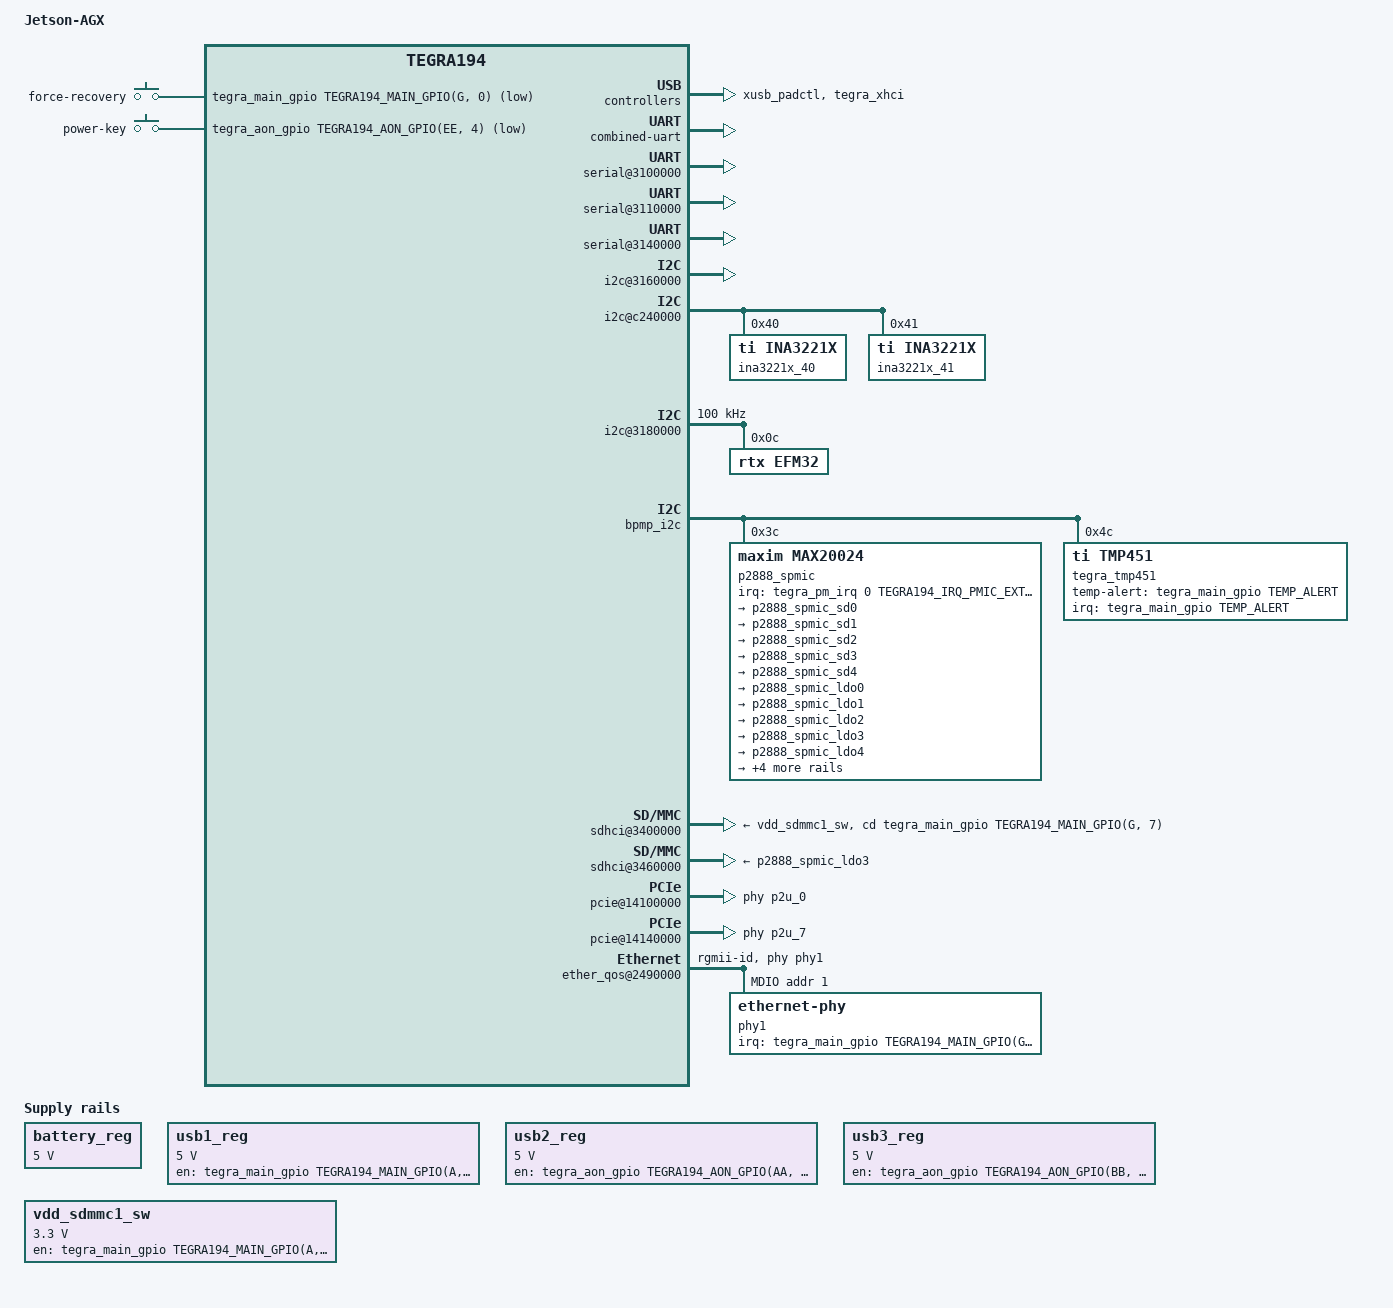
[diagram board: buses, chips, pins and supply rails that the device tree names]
/*
 * Common include DTS file for CVM:P2888-0001 and CVB:P2822-0000 variants.
 *
 * Copyright (c) 2018-2020, NVIDIA CORPORATION.  All rights reserved.
 *
 * This program is free software; you can redistribute it and/or modify
 * it under the terms of the GNU General Public License as published by
 * the Free Software Foundation; version 2 of the License.
 *
 * This program is distributed in the hope that it will be useful, but WITHOUT
 * ANY WARRANTY; without even the implied warranty of MERCHANTABILITY or
 * FITNESS FOR A PARTICULAR PURPOSE.  See the GNU General Public License for
 * more details.
 */

#define TEMP_ALERT TEGRA194_MAIN_GPIO(H, 2)

#include <dt-bindings/types.h>
#include "dt-bindings/extcon-ids.h"
#include <dt-bindings/regulator/regulator.h>
#include "dt-bindings/gpio/tegra194-gpio.h"
#include <dt-bindings/clock/tegra194-clock.h>
#include <dt-bindings/pwm/pwm.h>
#include <dt-bindings/interrupt-controller/arm-gic.h>
#include <dt-bindings/interrupt-controller/irq.h>
#include <dt-bindings/thermal/thermal.h>
#include <dt-bindings/thermal/nvidia,tegra-thermal-throttle.h>
#include "dt-bindings/input/input.h"
#include <dt-bindings/display/tegra-dc.h>
#include <dt-bindings/display/tegra-panel.h>
#include <dt-bindings/mfd/max77620.h>
#include <dt-bindings/sound/rt5659.h>

/dts-v1/;

/memreserve/ 0x80000000 0x00010000;

#include <tegra194-soc/tegra194-soc-base.dtsi>
#include <tegra194-soc/tegra194-cpus.dtsi>
#include <tegra194-soc/mods-simple-bus.dtsi>
#include <tegra194-soc/tegra194-soc-prod.dtsi>
#include <tegra194-soc/tegra194-soc-floor-sweeping.dtsi>

/ {

	model = "Jetson-AGX";
	compatible = "nvidia,tegra194";
	
	nvidia,dtsfilename = __FILE__;
	nvidia,dtbbuildtime = __DATE__, __TIME__;
	nvidia,fastboot-usb-vid = <0x0955>;
	nvidia,fastboot-usb-pid = <0xee1e>;
	model = "Jetson-AGX";
	compatible = "nvidia,galen", "nvidia,jetson-xavier", "nvidia,p2822-0000+p2888-0001", "nvidia,tegra194";

	#address-cells = <2>;
	#size-cells = <2>;

    aliases {
            rtc0 = &p2888_spmic;
            rtc1 = &tegra_rtc;
    };

	cpus {
		cpu@1 {
			status = "okay";
		};

		cpu@2 {
			status = "okay";
		};

		cpu@3 {
			status = "okay";
		};

		cpu@4 {
			status = "okay";
		};

		cpu@5 {
			status = "okay";
		};

		cpu@6 {
			status = "okay";
		};

		cpu@7 {
			status = "okay";
		};
	};

	L2_1: l2-cache1 {
		status = "okay";
	};

	L2_2: l2-cache2 {
		status = "okay";
	};

	L2_3: l2-cache3 {
		status = "okay";
	};

	/* L3 cache */
	tegra-cache {
		status = "okay";
	};
	
	tegra-carveouts {
		status = "okay";
	};

	clock@0 {
		status = "okay";
	};

	bpmp_reset@0 {
		status = "okay";
	};

	gv11b {
	    status = "okay";
	};

	dma@2600000 {
		status = "okay";
	};

	pinmux@2430000 {
		status = "okay";
	};

	gpio@2200000 {
		status = "okay";
		port-GG-interrupt-line = <0x0>;
	};

	gpio@c2f0000 {
		status = "okay";
	};

	efuse@3820000 {
		status = "okay";
		efuse-burn {
			status = "okay";
		};
	};

	kfuse@3830000 {
		status = "okay";
	};

	tegra194-pm-irq {
		status = "okay";
	};

	se_elp@3ad0000 {
		status = "okay";
	};

	rtc@c2a0000 {
		status = "okay";
	};

	tegra-cvnas {
		status = "okay";
	};

	mc {
		status = "okay";
	};

	mc_sid@2c00000 {
		status = "okay";
	};

	interrupt-controller@3881000 {
		status = "okay";
	};

	timer {
		status = "okay";
	};

	cbb-noc@2300000 {
		status = "okay";
	};

	aon-noc@C600000 {
		status = "okay";
	};

	bpmp-noc@D600000 {
		status = "okay";
	};

	rce-noc@BE00000 {
		status = "okay";
	};

	sce-noc@B600000 {
		status = "okay";
	};

	cv-noc@14040000 {
		status = "okay";
	};

	axi2apb@2390000 {
		status = "okay";
	};

	actmon@d230000 {
		status = "okay";
		mc_all {
			status = "okay";
		};
	};

	iommu@12000000 {
		status = "okay";
	};

	tegra-hsp@c150000 {
		status = "okay";
	};

	tegra-hsp@3c00000 {
		status = "okay";
	};
	
	psci {
		status = "okay";
	};

	cpufreq {
		status = "okay";
		cpufreq_single_policy;
	};

	arm64_ras {
		status = "okay";
	};

	carmel_ras {
		status = "okay";
	};

	host1x {
		se@15810000 {
			status = "okay";
		};

		se@15820000 {
			status = "okay";
		};

		se@15830000 {
			status = "okay";
		};

		se@15840000 {
			status = "okay";
		};
		
		ctx0 {
			status = "okay";
		};

		ctx1 {
			status = "okay";
		};

		ctx2 {
			status = "okay";
		};

		ctx3 {
			status = "okay";
		};

		ctx4 {
			status = "okay";
		};

		ctx5 {
			status = "okay";
		};

		ctx6 {
			status = "okay";
		};

		ctx7 {
			status = "okay";
		};
	};

	chosen {
		bootargs ="console=ttyTCU0,115200";
		board-has-eeprom;
	};
	
	eeprom-manager {
		status = "disabled";
		data-size = <0x100>;
		bus@0 {
			i2c-bus = <&gen1_i2c>;
			eeprom@0 {
				slave-address = <0x50>;
				label = "cvm";
			};
			eeprom@1 {
				slave-address = <0x56>;
			};
		};
	};
	
	clocks-init {
		compatible = "nvidia,clocks-config";
		status = "okay";
		disable {
			clocks = <&aon_clks TEGRA194_CLK_PLLAON>,
				<&bpmp_clks TEGRA194_CLK_CAN1>,
				<&bpmp_clks TEGRA194_CLK_CAN2>;
		};
	};

	dummy_cool_dev: dummy-cool-dev {
		compatible = "dummy-cooling-dev";
		#cooling-cells = <2>; /* min followed by max */
		status = "disabled";
	};

	external-connection {
		compatible = "simple-bus";
		device_type = "external-connection";
		#address-cells = <1>;
		#size-cells = <0>;
	};

	bpmp {
		status = "okay";
		bpmpthermal {
			status = "okay";
		};
	};

	arm-pmu {
		status = "okay";
	};

	power-domain {
		status = "disabled";
	};

	interrupt-controller {
		status = "disabled";
	};

	mods-simple-bus {
		status = "disabled";
	};

	cpuidle {
		compatible = "nvidia,tegra19x-cpuidle";
		status = "okay";
	};

	reserved-memory {
		vpr: vpr-carveout {
			compatible = "nvidia,vpr-carveout";
			size = <0 0x2a000000>;
			alignment = <0 0x400000>;
			alloc-ranges = <0x0 0x80000000 0x0 0x70000000>;
			reusable;
		};
		
		grid-of-semaphores {
			status = "okay";
		};
		
		ramoops_carveout {
			status = "okay";
		};
	};

	/* Power Management Controller */
	pmc@c360000 {
		status = "okay";
		iopad-defaults {
			sdmmc-io-pads {
				pins = "sdmmc1-hv", "sdmmc3-hv";
				nvidia,enable-voltage-switching;
			};
		};
	};

	pmc@c370000 {
		status = "okay";
		nvidia,invert-interrupt;
	};

	p2888_shuntv_offset: shuntv-offset {
		offset = <0>;
		conditional_offset@0 {
			shunt_volt_start = <0xFFFFFFD8>;
			shunt_volt_end = <0xFFFFFFD8>;
			offset = <40>;
		};
	};

	tegra-hsp@b950000 {
		status = "okay";
	};

	rtcpu@bc00000 {
		status = "okay";
		nvidia,cmd-timeout = <2000>;
	};

	hardwood {
		compatible = "nvidia,denver-hardwood";
		interrupts = <0 24 0x4>;
	};

	soft_wdt:soft_watchdog {
		compatible = "softdog-platform";
		status = "okay";
	};
	
	bthrot_cdev {
		compatible = "nvidia,tegra-thermal-throttle";
		clocks = <&bpmp_clks TEGRA194_CLK_NAFLL_CLUSTER0>,
				<&bpmp_clks TEGRA194_CLK_NAFLL_CLUSTER1>,
				<&bpmp_clks TEGRA194_CLK_NAFLL_CLUSTER2>,
				<&bpmp_clks TEGRA194_CLK_NAFLL_CLUSTER3>,
				<&bpmp_clks TEGRA194_CLK_NAFLL_GPU>;
		clock-names = "cpu0", "cpu1", "cpu2", "cpu3", "gpu";
		skin_balanced {
			cdev-type = "skin-balanced";
			#cooling-cells = <2>;
			nvidia,throttle-clocks = <TEGRA_THROTTLE_CPU 200 0
						TEGRA_THROTTLE_GPU 400 0>;
		};
		gpu_balanced {
			cdev-type = "gpu-balanced";
			#cooling-cells = <2>;
			nvidia,cutoff = <1>;
			nvidia,throttle-clocks = <TEGRA_THROTTLE_CPU 400 0
						TEGRA_THROTTLE_GPU 400 0>;
		};
		cpu_balanced {
			cdev-type = "cpu-balanced";
			#cooling-cells = <2>;
			nvidia,throttle-clocks = <TEGRA_THROTTLE_CPU 200 0
						TEGRA_THROTTLE_GPU 300 365500000>;
		};
		emergency_balanced {
			cdev-type = "emergency-balanced";
			#cooling-cells = <2>;
			nvidia,throttle-clocks = <TEGRA_THROTTLE_CPU 10 38400000
						TEGRA_THROTTLE_GPU 10 25500000>;
		};
		aux_balanced {
			cdev-type = "aux-balanced";
			#cooling-cells = <2>;
			nvidia,cutoff = <1>;
			nvidia,throttle-clocks = <TEGRA_THROTTLE_CPU 400 0
						TEGRA_THROTTLE_GPU 400 0>;
		};
	};
	
	thermal-zones {
		status = "disabled";

		Tboard_tegra: Tboard_tegra {
			status = "okay";
			polling-delay = <0>;
			polling-delay-passive = <1000>;
			thermal-sensors = <&tegra_tmp451 0>;
		};

		Tdiode_tegra: Tdiode_tegra {
			status = "okay";
			polling-delay = <0>;
			polling-delay-passive = <1000>;
			thermal-sensors = <&tegra_tmp451 1>;
		};
		
		CPU-therm {
			status = "okay";
			polling-delay-passive = <500>;

			thermal-zone-params {
				governor-name = "step_wise";
			};

			trips {
				trip_critical {
					temperature = <95500>;
					type = "critical";
					hysteresis = <0>;
					writable;
				};
				trip_bthrot {
					temperature = <90000>;
					type = "passive";
					hysteresis = <0>;
					writable;
				};
			};
			cooling-maps {
				map0 {
					trip = <&{/thermal-zones/CPU-therm/trips/trip_bthrot}>;
					cdev-type = "cpu-balanced";
					cooling-device = <&{/bthrot_cdev/cpu_balanced} THERMAL_NO_LIMIT THERMAL_NO_LIMIT>;
				};
			};
			
			trips {
				MAKE_EQOS_TRIP(m40, -40000, 5000);
				MAKE_EQOS_TRIP(m5, -5000, 5000);
				MAKE_EQOS_TRIP(p30, 30000, 5000);
				MAKE_EQOS_TRIP(p65, 65000, 5000);
				MAKE_EQOS_TRIP(p100, 100000, 5000);
			};

			cooling-maps {
				MAP_EQOS(m40, 1);
				MAP_EQOS(m5, 2);
				MAP_EQOS(p30, 3);
				MAP_EQOS(p65, 4);
				MAP_EQOS(p100, 5);
			};
			
		};

		AUX-therm {
			status = "okay";
			polling-delay-passive = <500>;
			trips {
				trip_critical {
					temperature = <94500>;
					type = "critical";
					hysteresis = <0>;
					writable;
				};

				trip_bthrot {
					temperature = <89000>;
					type = "passive";
					hysteresis = <0>;
					writable;
				};
			};
			cooling-maps {
				map0 {
					trip = <&{/thermal-zones/AUX-therm/trips/trip_bthrot}>;
					cdev-type = "aux-balanced";
					cooling-device = <&{/bthrot_cdev/aux_balanced} THERMAL_NO_LIMIT THERMAL_NO_LIMIT>;
				};
			};
		};

		GPU-therm {
			status = "okay";
			polling-delay-passive = <500>;

			thermal-zone-params {
				governor-name = "step_wise";
			};

			trips {
				trip_critical {
					temperature = <98000>;
					type = "critical";
					hysteresis = <0>;
					writable;
				};
				trip_bthrot {
					temperature = <92500>;
					type = "passive";
					hysteresis = <0>;
					writable;
				};
			};
			cooling-maps {
				map0 {
					trip = <&{/thermal-zones/GPU-therm/trips/trip_bthrot}>;
					cdev-type = "gpu-balanced";
					cooling-device = <&{/bthrot_cdev/gpu_balanced} THERMAL_NO_LIMIT THERMAL_NO_LIMIT>;
				};
			};

		};

		AO-therm {
			status = "okay";

			thermal-zone-params {
				governor-name = "step_wise";
			};

			trips {
				trip_dram_refresh {
					temperature = <85000>;
					type = "active";
					hysteresis = <3000>;
					writable;
				};
			};
			cooling-maps {
				map0 {
					trip = <&{/thermal-zones/AO-therm/trips/trip_dram_refresh}>;
					cdev-type = "bwmgr-therm-handler";
					cooling-device = <&bwmgr THERMAL_NO_LIMIT THERMAL_NO_LIMIT>;
				};
			};
		};
		
		PMIC-Die {
			polling-delay = <0>; /* milliseconds */
			polling-delay-passive = <0>; /* milliseconds */

			thermal-sensors = <&p2888_spmic>;
			trips {
				die_temp_thresh: hot-die {
					temperature = <120000>;
					type = "active";
					hysteresis = <0>;
				};
			};

			cooling-maps {
				map0 {
					trip = <&die_temp_thresh>;
					cooling-device = <&{/bthrot_cdev/emergency_balanced}
							THERMAL_NO_LIMIT THERMAL_NO_LIMIT>;
					contribution = <100>;
					cdev-type = "emergency-balanced";
				};
			};
		};
		
	};

	fixed-regulators {
		compatible = "simple-bus";
		device_type = "fixed-regulators";
		#address-cells = <1>;
		#size-cells = <0>;
		
		battery_reg: regulator@0 {
			compatible = "regulator-fixed";
			reg = <0>;
			regulator-name = "vdd-ac-bat";
			regulator-min-microvolt = <5000000>;
			regulator-max-microvolt = <5000000>;
			regulator-always-on;
		};
		
		usb1_reg: regulator@103 {
			compatible = "regulator-fixed";
			reg = <103>;
			regulator-name = "vdd-usb1-reg";
			regulator-min-microvolt = <5000000>;
			regulator-max-microvolt = <5000000>;
			gpio = <&tegra_main_gpio TEGRA194_MAIN_GPIO(A, 1) 0>;
			enable-active-high;
		};

		usb2_reg: regulator@104 {
			compatible = "regulator-fixed";
			reg = <104>;
			regulator-name = "vdd-usb2-reg";
			regulator-min-microvolt = <5000000>;
			regulator-max-microvolt = <5000000>;
			gpio = <&tegra_aon_gpio TEGRA194_AON_GPIO(AA, 6) 0>;
			enable-active-high;
		};

		usb3_reg: regulator@105 {
			compatible = "regulator-fixed";
			reg = <105>;
			regulator-name = "vdd-usb3-reg";
			regulator-min-microvolt = <5000000>;
			regulator-max-microvolt = <5000000>;
			gpio = <&tegra_aon_gpio TEGRA194_AON_GPIO(BB, 1) 0>;
			enable-active-high;
		};

		vdd_sdmmc1_sw: regulator@106 {
			compatible = "regulator-fixed";
			reg = <106>;
			regulator-name = "vdd-sdmmc1-sw";
			regulator-min-microvolt = <3300000>;
			regulator-max-microvolt = <3300000>;
			gpio = <&tegra_main_gpio TEGRA194_MAIN_GPIO(A, 0) 0>;
			enable-active-high;
		};

	};

/* USB-configure */
	xusb_padctl: xusb_padctl@3520000 {
		status = "okay";
		pex_dvdd-supply = <&p2888_spmic_sd0>;
		pex_hvdd-supply = <&p2888_spmic_sd1>;
		pex_pll_hvdd-supply = <&p2888_spmic_sd1>;
		vclamp_usb-supply = <&p2888_spmic_sd3>;
		avdd_usb-supply = <&p2888_spmic_ldo5>;
		avdd_pll_nvhs_eutmip-supply = <&p2888_spmic_sd1>;
		ports {
			usb2-0 {
				vbus-supply = <&usb1_reg>;
			};
			usb2-1 {
				vbus-supply = <&usb2_reg>;
			};
			usb2-2 {
				vbus-supply = <&usb3_reg>;
			};
		};
		
		pads {
			usb2 {
				lanes {
					usb2-0 {
						nvidia,function = "xusb";
						status = "okay";
					};
					usb2-1 {
						nvidia,function = "xusb";
						status = "okay";
					};
					usb2-2 {
						nvidia,function = "xusb";
						status = "okay";
					};
				};
			};
			usb3 {
				lanes {
					usb3-0 {
						nvidia,function = "xusb";
						status = "okay";
					};
					usb3-2 {
						nvidia,function = "xusb";
						status = "okay";
					};
					usb3-3 {
						nvidia,function = "xusb";
						status = "okay";
					};
				};
			};
		};

		ports {
			usb2-0 {
				mode = "host";
				status = "okay";
			};
			usb2-1 {
				mode = "host";
				status = "okay";
			};
			usb2-2 {
				mode = "host";
				status = "okay";
			};
			usb3-0 {
				nvidia,usb2-companion = <0>;
				status = "okay";
			};
			usb3-2 {
				nvidia,usb2-companion = <1>;
				status = "okay";
			};
			usb3-3 {
				nvidia,usb2-companion = <2>;
				status = "okay";
			};
		};
	};

	tegra_xhci: xhci@3610000 {
		extcon-cable-names = "id";
		#extcon-cells = <1>;
		phys = <&{/xusb_padctl@3520000/pads/usb2/lanes/usb2-0}>,
			<&{/xusb_padctl@3520000/pads/usb2/lanes/usb2-1}>,
			<&{/xusb_padctl@3520000/pads/usb2/lanes/usb2-2}>,
			<&{/xusb_padctl@3520000/pads/usb3/lanes/usb3-0}>,
			<&{/xusb_padctl@3520000/pads/usb3/lanes/usb3-2}>,
			<&{/xusb_padctl@3520000/pads/usb3/lanes/usb3-3}>;
		phy-names = "usb2-0", "usb2-1", "usb2-2",
			"usb3-0", "usb3-2", "usb3-3";
		nvidia,xusb-padctl = <&xusb_padctl>;
		status = "okay";
	};	
	
/* uart-configure */
	combined-uart {
		console-port;
		combined-uart;
		status = "okay";
	};
	
	serial@3100000 {
		compatible = "nvidia,tegra186-hsuart";
		status = "okay";
	};

	serial@3110000 {
		status = "okay";
	};

	serial@c280000 {
		status = "disabled";
	};

	serial@3130000 {
		status = "disabled";
	};

	serial@3140000 {
		compatible = "nvidia,tegra186-hsuart";
		status = "okay";
	};
	
	serial@3150000 {
		status = "disabled";
	};

	serial@c290000 {
		status = "disabled";
	};

	serial@3170000 {
		status = "disabled";
	};
	
	
/* i2c-configure */
	i2c@3160000 { /* I2C1 ID EEPROM */
		status = "okay";
	};

	i2c@c240000 { /* I2C2 */
		status = "okay";
		
		ina3221x_40: ina3221x@40 {
			compatible = "ti,ina3221x";
			reg = <0x40>;
			ti,trigger-config = <0x7003>;
			ti,continuous-config = <0x7c07>;
			ti,enable-forced-continuous;
			#address-cells = <1>;
			#size-cells = <0>;
			#io-channel-cells = <1>;
			channel@0 {
				reg = <0x0>;
				ti,rail-name = "GPU";
				ti,shunt-resistor-mohm = <5>;
				shunt-volt-offset-uv = <&p2888_shuntv_offset>;
			};
			channel@1 {
				reg = <0x1>;
				ti,rail-name = "CPU";
				ti,shunt-resistor-mohm = <5>;
				shunt-volt-offset-uv = <&p2888_shuntv_offset>;
			};
			channel@2 {
				reg = <0x2>;
				ti,rail-name = "SOC";
				ti,shunt-resistor-mohm = <5>;
				shunt-volt-offset-uv = <&p2888_shuntv_offset>;
			};
		};
		
		ina3221x_41: ina3221x@41 {
			compatible = "ti,ina3221x";
			reg = <0x41>;
			ti,trigger-config = <0x7003>;
			ti,continuous-config = <0x7c07>;
			ti,enable-forced-continuous;
			#address-cells = <1>;
			#size-cells = <0>;
			#io-channel-cells = <1>;
			channel@0 {
				reg = <0x0>;
				ti,rail-name = "CV";
				ti,shunt-resistor-mohm = <5>;
				shunt-volt-offset-uv = <&p2888_shuntv_offset>;
			};
			channel@1 {
				reg = <0x1>;
				ti,rail-name = "VDDRQ";
				ti,shunt-resistor-mohm = <5>;
				shunt-volt-offset-uv = <&p2888_shuntv_offset>;
			};
			channel@2 {
				reg = <0x2>;
				ti,rail-name = "SYS5V";
				ti,shunt-resistor-mohm = <5>;
				shunt-volt-offset-uv = <&p2888_shuntv_offset>;
			};
		};

	};

	i2c@3180000 { /* I2C3 EFM32 */
		status = "okay";
		clock-frequency = <100000>;
		
		efm32: rtx-efm32@0c {
			compatible = "rtx,efm32";
			reg = <0x0c>;
			/* gpio-mcux = <&tegra_main_gpio TEGRA194_MAIN_GPIO(Q, 0) 0>; */
			/* gpio-xmcu = <&tegra_main_gpio TEGRA194_MAIN_GPIO(R, 0) 0>; */
		};
	};

	i2c@3190000 { /* I2C4 */
		status = "disabled";
	};

	bpmp_i2c { /* I2C5 PMIC */
		status = "okay";
		p2888_spmic: spmic@3c {
			compatible = "maxim,max20024";
			reg = <0x3c>;

			interrupt-parent = <&tegra_pm_irq>;
			interrupts = <0 TEGRA194_IRQ_PMIC_EXT_INTR IRQ_TYPE_NONE>;

			#interrupt-cells = <2>;
            interrupt-controller;

			gpio-controller;
			#gpio-cells = <2>;

			enable-clock32k-out;

			system-pmic-power-off;
			avoid-power-off-commands;

			hot-die-threshold-temp = <110000>;
			#thermal-sensor-cells = <0>;

			pinctrl-names = "default";
			pinctrl-0 = <&spmic_default>;

			spmic_default: pinmux@0 {
				pin_gpio0 {
					pins = "gpio0";
					function = "gpio";
				};

				pin_gpio1 {
					pins = "gpio1";
					function = "fps-out";
					active-fps-source = <MAX77620_FPS_SRC_DEF>;
				};

				pin_gpio2 {
					pins = "gpio2";
					function = "fps-out";
					active-fps-source = <MAX77620_FPS_SRC_DEF>;
				};

				pin_gpio3 {
					pins = "gpio3";
					function = "fps-out";
					active-fps-source = <MAX77620_FPS_SRC_DEF>;
				};

				pin_gpio4 {
					pins = "gpio4";
					function = "32k-out1";
					drive-push-pull = <1>;
				};

				pin_gpio6 {
					pins = "gpio6";
					function = "gpio";
					drive-push-pull = <1>;
				};

				pin_gpio7 {
					pins = "gpio7";
					function = "gpio";
					drive-push-pull = <0>;
				};
			};

			gpio_default {
				gpio-hog;
				output-high;
				gpios = <6 0 7 0>;
				label = "spmic-gpio6", "spmic-gpio7";
			};

			p2888_spmic_wdt: watchdog {
				wdt-boot-timeout = <32>;
				wdt-suspend-timeout = <120>;
				status = "disabled";
			};

			fps {
				#address-cells = <1>;
				#size-cells = <0>;

				fps0 {
					reg = <0>;
					fps-event-source = <MAX77620_FPS_EVENT_SRC_EN0>;
				};

				fps1 {
					reg = <1>;
					fps-event-source = <MAX77620_FPS_EVENT_SRC_EN1>;
					device-state-on-disabled-event = <MAX77620_FPS_INACTIVE_STATE_SLEEP>;
				};

				fps2 {
					reg = <2>;
					fps-event-source = <MAX77620_FPS_EVENT_SRC_EN0>;
				};
			};

			backup-battery {
				backup-battery-charging-current = <100>;
				backup-battery-charging-voltage = <3000000>;
				backup-battery-output-resister = <100>;
				status = "disabled";
			};

			regulators {
				in-ldo7-8-supply = <&p2888_spmic_sd2>;

				p2888_spmic_sd0: sd0 {
					regulator-name = "vdd-1v0";
					regulator-always-on;
					regulator-boot-on;
					regulator-init-mode = <REGULATOR_MODE_NORMAL>;
					active-fps-source = <MAX77620_FPS_SRC_DEF>;
					regulator-enable-ramp-delay = <3960>;
					regulator-disable-ramp-delay = <660>;
					ramp-rate-setting = <27500>;
					regulator-ramp-delay = <1100>;
				};

				p2888_spmic_sd1: sd1 {
					regulator-name = "vdd-1v8-hs";
					regulator-always-on;
					regulator-boot-on;
					regulator-init-mode = <REGULATOR_MODE_NORMAL>;
					active-fps-source = <MAX77620_FPS_SRC_DEF>;
					regulator-enable-ramp-delay = <3310>;
					regulator-disable-ramp-delay = <2000>;
					ramp-rate-setting = <27500>;
					regulator-ramp-delay = <550>;
				};

				p2888_spmic_sd2: sd2 {
					regulator-name = "vdd-1v8-ls";
					regulator-always-on;
					regulator-boot-on;
					regulator-init-mode = <REGULATOR_MODE_NORMAL>;
					active-fps-source = <MAX77620_FPS_SRC_DEF>;
					regulator-enable-ramp-delay = <3310>;
					regulator-disable-ramp-delay = <1970>;
					ramp-rate-setting = <27500>;
					regulator-ramp-delay = <550>;
				};

				p2888_spmic_sd3: sd3 {
					regulator-name = "vdd-1v8-ao";
					regulator-always-on;
					regulator-boot-on;
					regulator-init-mode = <REGULATOR_MODE_NORMAL>;
					active-fps-source = <MAX77620_FPS_SRC_DEF>;
					regulator-enable-ramp-delay = <2130>;
					regulator-disable-ramp-delay = <1970>;
					ramp-rate-setting = <27500>;
					regulator-ramp-delay = <350>;
				};

				p2888_spmic_sd4: sd4 {
					regulator-name = "vddio-ddr-1v1";
					regulator-always-on;
					regulator-boot-on;
					regulator-init-mode = <REGULATOR_MODE_NORMAL>;
					active-fps-source = <MAX77620_FPS_SRC_DEF>;
					regulator-enable-ramp-delay = <2650>;
					regulator-disable-ramp-delay = <1300>;
					ramp-rate-setting = <27500>;
					regulator-ramp-delay = <700>;
				};

				p2888_spmic_ldo0: ldo0 {
					regulator-name = "vdd-rtc";
					regulator-always-on;
					regulator-boot-on;
					active-fps-source = <MAX77620_FPS_SRC_DEF>;
					regulator-enable-ramp-delay = <160>;
					regulator-disable-ramp-delay = <4480>;
					ramp-rate-setting = <100000>;
					regulator-ramp-delay = <200>;
				};

				p2888_spmic_ldo1: ldo1 {
					regulator-name = "spmic-ldo1";
					active-fps-source = <MAX77620_FPS_SRC_DEF>;
					regulator-enable-ramp-delay = <2650>;
					regulator-disable-ramp-delay = <1300>;
					ramp-rate-setting = <100000>;
					regulator-ramp-delay = <1150>;
				};

				p2888_spmic_ldo2: ldo2 {
					regulator-name = "vdd-ao-3v3";
					regulator-always-on;
					regulator-boot-on;
					active-fps-source = <MAX77620_FPS_SRC_DEF>;
					regulator-enable-ramp-delay = <4670>;
					ramp-rate-setting = <100000>;
					regulator-ramp-delay = <1500>;
				};

				p2888_spmic_ldo3: ldo3 {
					regulator-name = "vddio-emmc-3v3";
					regulator-always-on;
					regulator-boot-on;
					active-fps-source = <MAX77620_FPS_SRC_DEF>;
					regulator-enable-ramp-delay = <4670>;
					ramp-rate-setting = <100000>;
					regulator-ramp-delay = <1500>;
				};

				p2888_spmic_ldo4: ldo4 {
					regulator-name = "spmic-ldo4";
					active-fps-source = <MAX77620_FPS_SRC_DEF>;
					regulator-enable-ramp-delay = <3310>;
					regulator-disable-ramp-delay = <1970>;
					ramp-rate-setting = <100000>;
					regulator-ramp-delay = <2200>;
				};

				p2888_spmic_ldo5: ldo5 {
					regulator-name = "vdd-usb-3v3";
					regulator-always-on;
					regulator-boot-on;
					active-fps-source = <MAX77620_FPS_SRC_DEF>;
					regulator-enable-ramp-delay = <4670>;
					ramp-rate-setting = <100000>;
					regulator-ramp-delay = <1500>;
				};

				p2888_spmic_ldo6: ldo6 {
					regulator-name = "vddio-sdmmc1-3v3";
					regulator-always-on;
					regulator-boot-on;
					active-fps-source = <MAX77620_FPS_SRC_DEF>;
					regulator-enable-ramp-delay = <4690>;
					ramp-rate-setting = <100000>;
					regulator-ramp-delay = <1500>;
				};

				p2888_spmic_ldo7: ldo7 {
					regulator-name = "vdd-csi-1v2";
					regulator-always-on;
					regulator-boot-on;
					active-fps-source = <MAX77620_FPS_SRC_DEF>;
					regulator-enable-ramp-delay = <3960>;
					regulator-disable-ramp-delay = <660>;
					ramp-rate-setting = <100000>;
					regulator-ramp-delay = <3350>;
				};

				p2888_spmic_ldo8: ldo8 {
					regulator-name = "spmic-ldo8";
					active-fps-source = <MAX77620_FPS_SRC_DEF>;
					regulator-enable-ramp-delay = <3960>;
					regulator-disable-ramp-delay = <660>;
					ramp-rate-setting = <100000>;
					regulator-ramp-delay = <2250>;
				};
				
			};
		};

		tegra_tmp451: temp-sensor@4c {
			status = "okay";
			#thermal-sensor-cells = <1>;
			compatible = "ti,tmp451";
			reg = <0x4c>;
			sensor-name = "tmp451-ext";
			supported-hwrev = <1>;
			offset = <(-38)>;
			conv-rate = <0x06>;
			extended-rage = <1>;

			interrupt-parent = <&tegra_main_gpio>;
			interrupts = <TEMP_ALERT IRQ_TYPE_LEVEL_LOW>;
			temp-alert-gpio = <&tegra_main_gpio TEMP_ALERT 0>;

			/* vdd-supply configured in power tree */

			loc {
				/* set to maximum for not having local  shutdown */
				shutdown-limit = <107>;
			};
			ext {
				shutdown-limit = <109>;
			};
		};
	};

	i2c@31b0000 { /* I2C6 */
		status = "disabled";
	};

	i2c@31c0000 { /* I2C7 */
		status = "disabled";
	};

	i2c@c250000 { /* I2C8 */
		status = "disabled";
	};

	i2c@31e0000 { /* I2C9 */
		status = "disabled";
	};
	
/* spi-configure */
	spi@3210000 {
		status = "disabled";
	};

	spi@c260000 {
		status = "disabled";
	};

	spi@3230000 {
		status = "disabled";
	};

	spi@3270000 {
		status = "disabled";
	};

	spi@3300000 {
		status = "disabled";
	};

/* can-configure */
    mttcan@c310000 {
	 status = "disabled";
    };

    mttcan@c320000 {
		status = "disabled";
    };
	
/* pwm-configure */
	pwm@3280000 {
		status = "disabled";
	};

	pwm@3290000 {
		status = "disabled";
	};

	pwm@32a0000 {
		status = "disabled";
	};

	pwm@c340000 {
		status = "disabled";
	};

	pwm@32c0000 {
		status = "disabled";
	};

	pwm@32d0000 {
		status = "disabled";
	};

	pwm@32e0000 {
		status = "disabled";
	};

	pwm@32f0000 {
		status = "disabled";
	};
	
	tachometer@39c0000 {
		status = "disabled";
	};
	
	generic_pwm_tachometer  {
		status = "disabled";
	};
	
/* sdhc-configure */
	sdhci@3400000 {
		vmmc-supply = <&vdd_sdmmc1_sw>;
		mmc-ocr-mask = <0x0>;
		cd-gpios = <&tegra_main_gpio TEGRA194_MAIN_GPIO(G, 7) 0>;
		nvidia,cd-wakeup-capable;
		nvidia,vmmc-always-on;
		status = "okay";
	};

	sdhci@3460000 {
		status = "disabled";
	};

	sdhci@3460000 {
		vmmc-supply = <&p2888_spmic_ldo3>;
		vqmmc-supply = <&p2888_spmic_sd2>;
		uhs-mask = <0x0>;
		nvidia,enable-hwcq;
		status = "okay";
	};

/* gpio-configure */
	gpio-keys {
		compatible = "gpio-keys";
		gpio-keys,name = "gpio-keys";

		forcerecovery {
			label = "force-recovery";
			gpios = <&tegra_main_gpio TEGRA194_MAIN_GPIO(G, 0) GPIO_ACTIVE_LOW>;
			linux,code = <BTN_1>;
		};

		power_key {
			label = "power-key";
			gpios = <&tegra_aon_gpio TEGRA194_AON_GPIO(EE, 4) GPIO_ACTIVE_LOW>;
			linux,code = <KEY_POWER>;
			gpio-key,wakeup;
		};
	};

/* pcie-configure */
	pcie_ep@14180000 { /* Controller 0 EndPoint */
		status = "disabled";
	};
	
	pcie_ep@14160000 { /* Controller 4 EndPoint */
		status = "disabled";
	};

	pcie_ep@141a0000 { /* Controller 5 EndPoint */
		status = "disabled";
		
		vddio-pex-ctl-supply = <&p2888_spmic_sd3>;
		nvidia,disable-aspm-states = <0xf>;

		phys = <&p2u_12>, <&p2u_13>, <&p2u_14>, <&p2u_15>,
			   <&p2u_16>, <&p2u_17>, <&p2u_18>, <&p2u_19>;
		phy-names = "pcie-p2u-0", "pcie-p2u-1", "pcie-p2u-2", "pcie-p2u-3",
					"pcie-p2u-4", "pcie-p2u-5", "pcie-p2u-6", "pcie-p2u-7";

		nvidia,pex-rst-gpio = <&tegra_main_gpio TEGRA194_MAIN_GPIO(GG, 1) GPIO_ACTIVE_LOW>;
	};

	pcie@14180000 { /* Controller 0 Root; KIT uphy2~5 for M.2 Key M */
		status = "disabled";

		vddio-pex-ctl-supply = <&p2888_spmic_sd3>;
		nvidia,disable-aspm-states = <0xf>;
		nvidia,enable-power-down;
		nvidia,disable-clock-request;

		phys = <&p2u_2>, <&p2u_3>, <&p2u_4>, <&p2u_5>;
		phy-names = "pcie-p2u-0", "pcie-p2u-1", "pcie-p2u-2", "pcie-p2u-3";
	};

	pcie@14100000 { /* Controller 1 Root; KIT uphy0 for eSATA */
		status = "okay";

		vddio-pex-ctl-supply = <&p2888_spmic_sd3>;
		nvidia,disable-aspm-states = <0xc>;
		nvidia,enable-power-down;
		nvidia,disable-clock-request;

		phys = <&p2u_0>;
		phy-names = "pcie-p2u-0";
		
		nvidia,max-speed = <2>;
	};
	
	pcie@14120000 { /* Controller 2 Root; KIT NA */
		status = "disabled";
	};

	pcie@14140000 { /* Controller 3 Root; KIT uphy7 for M.2 Key E */
		status = "okay";
		
		vddio-pex-ctl-supply = <&p2888_spmic_sd3>;
		nvidia,disable-aspm-states = <0xf>;
		nvidia,enable-power-down;
		nvidia,disable-clock-request;

		phys = <&p2u_7>;
		phy-names = "pcie-p2u-0";

		nvidia,pex-wake = <&tegra_main_gpio TEGRA194_MAIN_GPIO(L, 2) GPIO_ACTIVE_HIGH>;

	};

	pcie@14160000 { /* Controller 4 Root; KIT uphy8~9 unused */
		status = "disabled";
	};

	pcie@141a0000 { /* Controller 5 Root; KIT nvhs-uphy12~19 for PCIe*16 */
		status = "disabled";
		
		vddio-pex-ctl-supply = <&p2888_spmic_sd3>;
		nvidia,disable-aspm-states = <0xf>;
		nvidia,enable-power-down;
		nvidia,disable-clock-request;

		phys = <&p2u_12>, <&p2u_13>, <&p2u_14>, <&p2u_15>,
			   <&p2u_16>, <&p2u_17>, <&p2u_18>, <&p2u_19>;
		phy-names = "pcie-p2u-0", "pcie-p2u-1", "pcie-p2u-2", "pcie-p2u-3",
					"pcie-p2u-4", "pcie-p2u-5", "pcie-p2u-6", "pcie-p2u-7";

		nvidia,plat-gpios =
			<&tegra_main_gpio TEGRA194_MAIN_GPIO(Z, 2) GPIO_ACTIVE_HIGH    /* 3V3 */
			 &tegra_main_gpio TEGRA194_MAIN_GPIO(A, 1) GPIO_ACTIVE_LOW     /* 12V */
		     /*&tegra_main_gpio TEGRA194_MAIN_GPIO(Y, 4) GPIO_ACTIVE_HIGH */ /* I2C */
			>;
	};

/* net-configure */
    ether_qos@2490000 {
		status = "okay";
		vddio_sys_enet_bias-supply = <&battery_reg>;
		vddio_enet-supply = <&battery_reg>;
		phy_vdd_1v8-supply = <&p2888_spmic_sd2>;
		phy_ovdd_rgmii-supply = <&p2888_spmic_sd2>;
		phy_pllvdd-supply = <&battery_reg>;
		
		/* PTP_ref clock speed in MHz */
		nvidia,ptp_ref_clock_speed = <312500000>;
		/* rxq_enable_ctrl = <rx0 rx1 rx2 rx3>
		 * 0x0 = Not enabled, 0x1 = Enabled for AV
		 * 0x2 = Enabled for Legacy, 0x3 = Reserved
		 */
		nvidia,rxq_enable_ctrl = <2 2 2 2>;
		nvidia,queue_prio = <0 1 2 3>;

		nvidia,use_tagged_ptp;
		nvidia,ptp_dma_ch = <3>;

		nvidia,chan_napi_quota = <64 64 64 64>;
		nvidia,pause_frames = <0>; /*0=enable, 1=disable */
		nvidia,phy-reset-gpio = <&tegra_main_gpio TEGRA194_MAIN_GPIO(G, 5) 0>;
		nvidia,phy-reset-post-delay = <224>;
		nvidia,phy-reset-duration = <10000>;
		nvidia,phy-max-frame-size = <16>;	/* size in kbytes */
		nvidia,eth_iso_enable = <1>; /*0=enable, 1=disable */
		phy-mode = "rgmii-id";
		phy-handle = <&phy1>;

		mdio {
			compatible = "nvidia,eqos-mdio";
			#address-cells = <1>;
			#size-cells = <0>;

			phy1: ethernet-phy@1 {
				reg = <1>;
				interrupt-parent = <&tegra_main_gpio>;
				interrupts = <TEGRA194_MAIN_GPIO(G, 4) IRQ_TYPE_LEVEL_LOW>;
				marvell,copper-mode;
				/* Setup LED[2] as interrupt pin (active low) */
				marvell,reg-init = <0x03 0x12 0x7fff 0x880>;
			};
		};
	};
	
};



